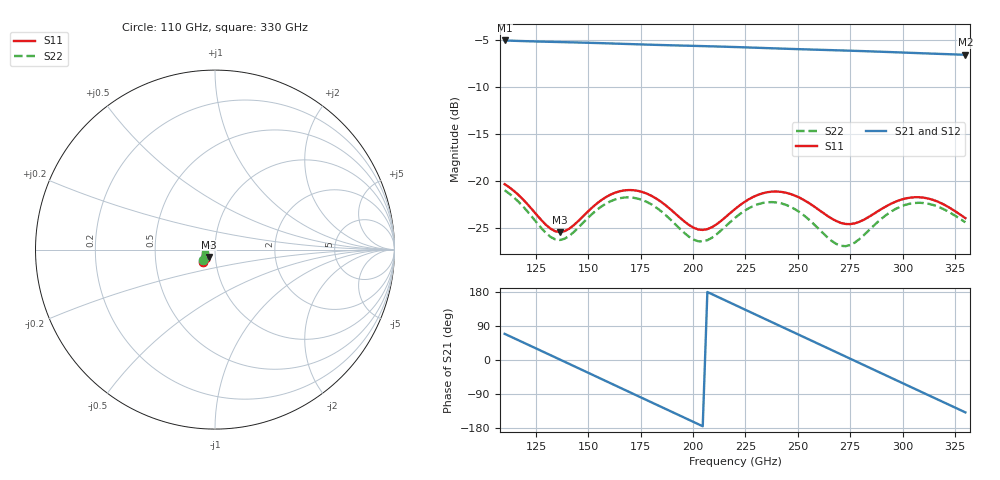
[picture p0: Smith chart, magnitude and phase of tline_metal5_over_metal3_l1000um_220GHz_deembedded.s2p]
! Created with skrf 2.0.1 (http://scikit-rf.org).
# GHz S DB R 50.0
!freq dBS11 angS11 dBS21 angS21 dBS12 angS12 dBS22 angS22
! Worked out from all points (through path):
!   101 points, 110 GHz to 330 GHz, reference 50 ohm
!   highest |S21| = -5.02 dB at 110 GHz (marker M1); lowest = -6.5 dB at 330 GHz (marker M2)
!   group delay of S21, straight-line fit = 7.17 ps
!   lowest |S11| = -25.4 dB at 136.4 GHz (marker M3), VSWR 1.11, Z = 46.5 - j3.77 ohm
!   |S11| at or under -10 dB: start of sweep to end of sweep
!   |S22| runs from -26.9 to -21.0 dB; largest |S21 - S12| = 9.4e-14
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110  -20.32 -135.6  -5.02 69.1  -5.02 69.1  -20.97 -139.5
123.2  -23.02 -145.5  -5.12 35.2  -5.12 35.2  -23.83 -149.6
136.4  -25.41 -131.0  -5.19 1.2  -5.19 1.2  -26.25 -134.2
147.4  -23.75 -118.0  -5.26 -27.2  -5.26 -27.2  -24.43 -121.8
158.4  -21.69 -122.4  -5.33 -55.7  -5.33 -55.7  -22.38 -127.5
167.2  -20.98 -131.6  -5.39 -78.4  -5.39 -78.4  -21.73 -137.5
176  -21.17 -141.5  -5.45 -101.1  -5.45 -101.1  -22.02 -148.1
184.8  -22.21 -149.0  -5.51 -123.8  -5.51 -123.8  -23.21 -156.1
202.4  -25.13 -141.2  -5.61 -169.2  -5.61 -169.2  -26.39 -146.9
211.2  -24.59 -129.2  -5.67 168.1  -5.67 168.1  -25.65 -134.5
220  -22.96 -125.9  -5.72 145.3  -5.72 145.3  -23.90 -132.3
231  -21.45 -132.3  -5.81 116.9  -5.81 116.9  -22.45 -140.3
239.8  -21.10 -140.6  -5.87 94.2  -5.87 94.2  -22.26 -149.9
248.6  -21.53 -148.4  -5.94 71.5  -5.94 71.5  -22.97 -158.6
257.4  -22.63 -153.0  -6.00 48.8  -6.00 48.8  -24.52 -162.9
268.4  -24.25 -149.2  -6.07 20.5  -6.07 20.5  -26.68 -154.6
275  -24.57 -142.2  -6.12 3.5  -6.12 3.5  -26.79 -143.1
283.8  -23.81 -134.6  -6.18 -19.3  -6.18 -19.3  -25.25 -133.5
294.8  -22.36 -134.9  -6.27 -47.7  -6.27 -47.7  -23.19 -135.9
303.6  -21.75 -140.4  -6.34 -70.3  -6.34 -70.3  -22.39 -143.4
312.4  -21.85 -147.1  -6.41 -93.0  -6.41 -93.0  -22.40 -151.6
330  -23.93 -151.6  -6.55 -138.2  -6.55 -138.2  -24.37 -158.5
